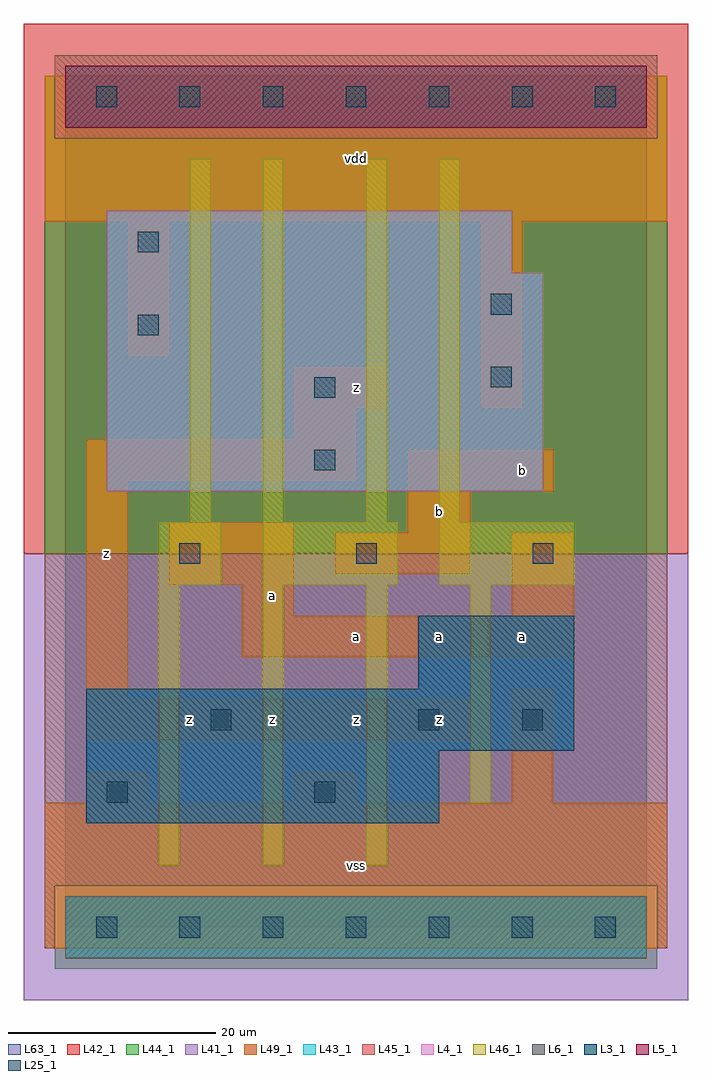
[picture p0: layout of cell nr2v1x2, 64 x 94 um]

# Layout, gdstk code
import gdstk
lib = gdstk.Library(unit=1e-6, precision=1e-09)
def R(c, l, rs):  # rectangles x0, y0, x1, y1
    for r in rs: c.add(gdstk.rectangle(r[:2], r[2:], *l))
def A(c, l, x, y, w, h, nx, ny, dx, dy):  # array of equal rectangles
    R(c, l, [(x+i*dx, y+j*dy, x+i*dx+w, y+j*dy+h) for i in range(nx) for j in range(ny)])
L3_1 = (3, 1)
L4_1 = (4, 1)
L5_1 = (5, 1)
L6_1 = (6, 1)
L25_1 = (25, 1)
L41_1 = (41, 1)
L42_1 = (42, 1)
L43_1 = (43, 1)
L44_1 = (44, 1)
L45_1 = (45, 1)
L46_1 = (46, 1)
L49_1 = (49, 1)
L63_1 = (63, 1)

nr2v1x2 = lib.new_cell('nr2v1x2')
R(nr2v1x2, L3_1, [(2,10,36,17), (2,17,49,23), (34,23,49,30)])
R(nr2v1x2, L4_1, [(4,42,46,63), (4,63,43,69)])
R(nr2v1x2, L5_1, [(0,77,56,83)])
R(nr2v1x2, L6_1, [(0,-3,56,3), (0,-3,56,3)])
A(nr2v1x2, L25_1, 3, -1, 2, 2, 7, 2, 8, 80)
A(nr2v1x2, L25_1, 11, 35, 2, 2, 3, 1, 17, 0)
R(nr2v1x2, L25_1, [(4,12,6,14), (24,12,26,14), (14,19,16,21), (34,19,36,21), (44,19,46,21), (24,44,26,46), (24,51,26,53), (41,52,43,54), (7,57,9,59), (41,59,43,61), (7,65,9,67)])
R(nr2v1x2, L41_1, [(-4,-7,60,36)])
R(nr2v1x2, L42_1, [(-4,36,60,87)])
R(nr2v1x2, L43_1, [(0,-3,56,3), (2,10,36,17), (2,17,49,23), (34,23,49,30), (4,42,46,63), (4,63,43,69), (0,77,56,83)])
R(nr2v1x2, L44_1, [(-1,-4,57,4), (-2,36,58,76), (-2,76,-1,82), (57,76,58,82)])
R(nr2v1x2, L45_1, [(-2,-2,-1,4), (57,-2,58,4), (-2,4,58,36), (-1,76,57,84)])
A(nr2v1x2, L46_1, 9, 6, 2, 27, 3, 1, 10, 0)
R(nr2v1x2, L46_1, [(39,12,41,33), (9,33,15,39), (19,33,32,39), (36,33,49,39), (12,39,14,74), (19,39,21,74), (29,39,31,74), (36,39,38,74)])
R(nr2v1x2, L49_1, [(-2,-2,58,12), (2,12,8,15), (22,12,28,15), (43,12,47,23), (2,18,39,22), (2,22,6,43), (17,26,49,30), (17,30,22,33), (43,30,49,38), (10,33,22,39), (26,34,39,38), (33,38,39,42), (33,42,47,46), (2,43,28,47), (22,47,28,50), (22,50,31,54), (40,50,44,68), (6,55,10,68), (-2,68,58,82)])
R(nr2v1x2, L63_1, [(0,0,56,80)])
nr2v1x2.add(gdstk.Label('z', (4,36), layer=49, texttype=1))
nr2v1x2.add(gdstk.Label('z', (12,20), layer=49, texttype=1))
nr2v1x2.add(gdstk.Label('vss', (28,6), layer=49, texttype=1))
nr2v1x2.add(gdstk.Label('z', (20,20), layer=49, texttype=1))
nr2v1x2.add(gdstk.Label('a', (28,28), layer=49, texttype=1))
nr2v1x2.add(gdstk.Label('z', (28,20), layer=49, texttype=1))
nr2v1x2.add(gdstk.Label('a', (20,32), layer=49, texttype=1))
nr2v1x2.add(gdstk.Label('z', (28,52), layer=49, texttype=1))
nr2v1x2.add(gdstk.Label('vdd', (28,74), layer=49, texttype=1))
nr2v1x2.add(gdstk.Label('z', (36,20), layer=49, texttype=1))
nr2v1x2.add(gdstk.Label('a', (36,28), layer=49, texttype=1))
nr2v1x2.add(gdstk.Label('a', (44,28), layer=49, texttype=1))
nr2v1x2.add(gdstk.Label('b', (36,40), layer=49, texttype=1))
nr2v1x2.add(gdstk.Label('b', (44,44), layer=49, texttype=1))

lib.write_gds('nr2v1x2.gds')
